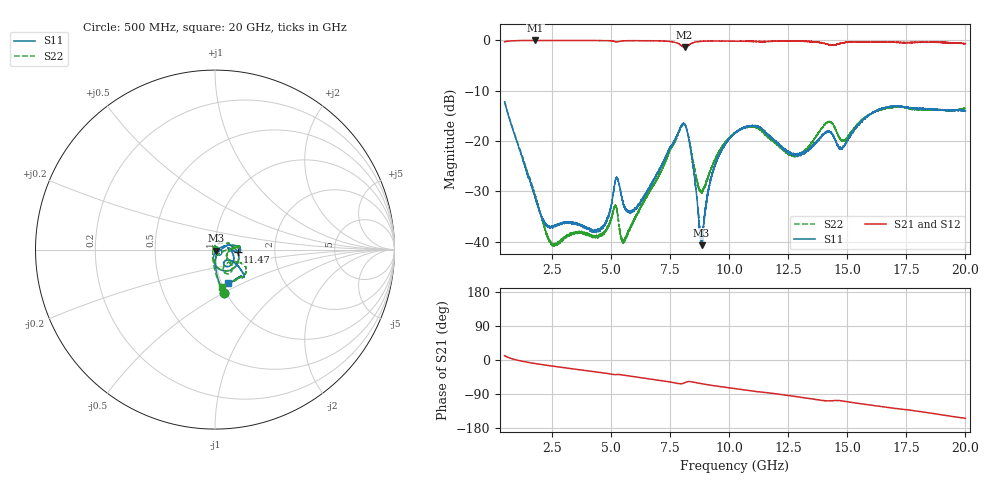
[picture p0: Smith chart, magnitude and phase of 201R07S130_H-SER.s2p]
!{201R07S130}
!Johanson Technology Inc.
!www.johansontechnology.com
!Test Board Conditions:
!Substrate Type  RO4350B
!Substrate Thickness  10 mil
!Substrate Dk  3.66
!TL Type: GCPW
!TL Trace Width  21 mil
!TL Gap  20 mil
!Electrode orientation  Horizontal
!DUT TOPOLOGY	SERIES
!Mounting Pad LxW  16x21 mil
!Agilent Technologies,N5230A,MY45001966,A.07.50.67
!Agilent N5230A: A.07.50.67
! Created Mon Mar  9 15:50:40 2020
# mhz S ma R 50
! 2 Port Network Data from SP1.SP block
! freq  magS11  angS11  magS21  angS21  magS12  angS12  magS22  angS22
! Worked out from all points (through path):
!   19501 points, 500 MHz to 20 GHz, reference 50 ohm
!   highest |S21| = -0.01 dB at 1.794 GHz (marker M1); lowest = -1.4 dB at 8.114 GHz (marker M2)
!   group delay of S21, straight-line fit = 21.6 ps
!   lowest |S11| = -40.7 dB at 8.834 GHz (marker M3), VSWR 1.02, Z = 50.7 - j0.566 ohm
!   |S11| at or under -10 dB: start of sweep to end of sweep
!   |S22| runs from -40.9 to -12.2 dB; largest |S21 - S12| = 0.016
!   S11 on the Smith chart (normalised r, x): 500 MHz: 0.98, -0.50; 11.47 GHz: 1.29, -0.04; 20 GHz: 1.08, -0.42
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500  0.2451 -78.6  0.967 11.4  0.9688 11.3  0.2469 -78.6
1794  0.02736 -75.0  0.9983 -9.3  0.9968 -9.4  0.0288 -116.5
2515  0.01377 -8.9  0.9974 -16.0  0.9976 -16.0  0.009259 165.3
3750  0.01461 23.7  0.9964 -26.4  0.9975 -26.4  0.01246 80.5
4697  0.01464 1.7  0.9945 -34.3  0.9949 -34.3  0.01237 78.4
5179  0.03971 -16.9  0.9727 -38.6  0.9714 -38.6  0.02251 13.1
5555  0.02215 -62.2  0.9906 -40.1  0.9898 -40.1  0.01027 177.9
6020  0.02102 -30.3  0.9939 -44.3  0.993 -44.3  0.01713 112.0
7000  0.04871 12.9  0.9884 -53.0  0.9891 -53.0  0.04356 53.8
8114  0.1468 -46.1  0.8504 -60.1  0.852 -60.1  0.146 -44.8
8384  0.07815 -92.1  0.9278 -57.3  0.928 -57.2  0.08412 -88.0
8834  0.009204 -37.3  0.9786 -62.6  0.9786 -62.6  0.03202 -50.9
9378  0.0553 21.1  0.9851 -68.0  0.9846 -67.9  0.06377 -1.8
10250  0.1203 10.5  0.9814 -75.5  0.9816 -75.5  0.121 7.8
11467  0.1266 -6.2  0.9725 -85.3  0.971 -85.2  0.1199 3.2
12715  0.07329 3.7  0.9827 -95.6  0.9872 -95.5  0.07119 -17.9
13500  0.08794 -1.9  0.9747 -102.7  0.9694 -102.7  0.09622 -38.9
14221  0.1244 -44.1  0.9063 -108.0  0.9116 -108.2  0.1546 -57.1
14768  0.08428 -47.6  0.9371 -107.7  0.9386 -108.0  0.1003 -55.9
15746  0.1654 -36.6  0.9662 -117.0  0.9609 -116.9  0.1707 -26.8
16750  0.217 -41.5  0.9645 -125.3  0.9563 -125.6  0.2144 -35.7
20000  0.1995 -68.2  0.9258 -153.7  0.9238 -153.5  0.2117 -79.9
